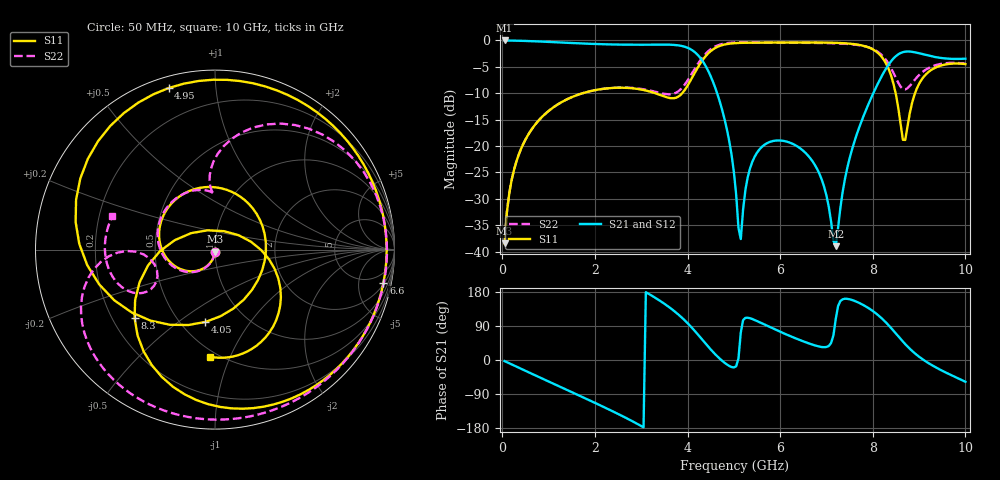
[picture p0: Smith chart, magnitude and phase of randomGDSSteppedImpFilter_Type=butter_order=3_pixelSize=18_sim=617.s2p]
! freq	dB(S11)	phase(S11)	dB(S12)	phase(S12)
!  dB(S21)	phase(S21)	dB(S22)	phase(S22)
!S-par simulation data
#  GHz  S  DB  R 50
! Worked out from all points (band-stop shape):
!   200 points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, 50 MHz to 10 GHz, reference 50 ohm
!   highest |S21| = -0.01 dB at 50 MHz (marker M1); lowest = -39.0 dB at 7.2 GHz (marker M2)
!   |S21| within 3 dB of the highest: start of sweep to 4.248 GHz; 8.495 GHz to 9.269 GHz (774.6 MHz wide, 8.72 % of centre)
!   lowest |S11| = -38.4 dB at 50 MHz (marker M3), VSWR 1.02, Z = 49.9 - j1.2 ohm
!   |S11| at or under -10 dB: start of sweep to 1.734 GHz; 3.304 GHz to 3.884 GHz (580 MHz wide, 16.1 % of centre); 8.493 GHz to 8.912 GHz (419 MHz wide, 4.81 % of centre)
!   |S22| runs from -38.4 to -0.4 dB; largest |S21 - S12| = 0
!   S11 on the Smith chart (normalised r, x): 50 MHz: 1.00, -0.02; 4.05 GHz: 0.66, -0.63; 4.95 GHz: 0.05, +0.75; 6.6 GHz: 2.21, -9.69; 8.3 GHz: 0.29, -0.34; 10 GHz: 0.46, -0.84
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0.05  -38.42 -92.4  -0.01 -2.9  -0.01 -2.9  -38.42 -92.3
0.2  -26.51 -101.8  -0.03 -11.5  -0.03 -11.5  -26.50 -101.3
0.5  -18.77 -119.6  -0.10 -28.6  -0.10 -28.6  -18.77 -118.4
1.75  -9.96 167.9  -0.59 -98.8  -0.59 -98.8  -9.95 173.0
2.7  -8.99 107.4  -0.81 -154.7  -0.81 -154.7  -8.93 122.3
3.4  -10.30 40.4  -0.78 156.6  -0.78 156.6  -9.92 92.9
4.05  -7.82 -97.6  -1.59 91.0  -1.59 91.0  -6.90 92.8
4.5  -2.03 168.7  -6.78 27.9  -6.78 27.9  -1.67 57.2
4.95  -0.57 106.0  -21.62 -18.5  -21.62 -18.5  -0.43 14.4
5.05  -0.50 95.5  -29.17 -16.6  -29.17 -16.6  -0.38 6.4
5.15  -0.46 85.9  -37.60 72.8  -37.60 72.8  -0.37 -1.1
5.3  -0.43 72.8  -25.89 111.6  -25.89 111.6  -0.37 -11.6
5.55  -0.42 53.4  -20.66 100.0  -20.66 100.0  -0.39 -27.5
6.6  -0.39 -11.2  -21.78 44.6  -21.78 44.6  -0.46 -82.4
6.7  -0.39 -16.7  -22.89 40.4  -22.89 40.4  -0.47 -87.1
7.2  -0.46 -44.6  -38.95 107.7  -38.95 107.7  -0.55 -110.6
7.85  -1.14 -88.2  -13.24 141.3  -13.24 141.3  -1.16 -144.5
8.3  -4.59 -139.5  -5.14 97.1  -5.14 97.1  -3.86 -173.8
8.35  -5.56 -147.6  -4.47 90.6  -4.47 90.6  -4.53 -176.4
8.7  -18.85 64.2  -2.13 41.9  -2.13 41.9  -9.28 -160.4
9.1  -6.88 -35.8  -2.65 -0.1  -2.65 -0.1  -5.80 -152.0
10  -4.48 -92.8  -3.45 -57.4  -3.45 -57.4  -4.42 161.9
